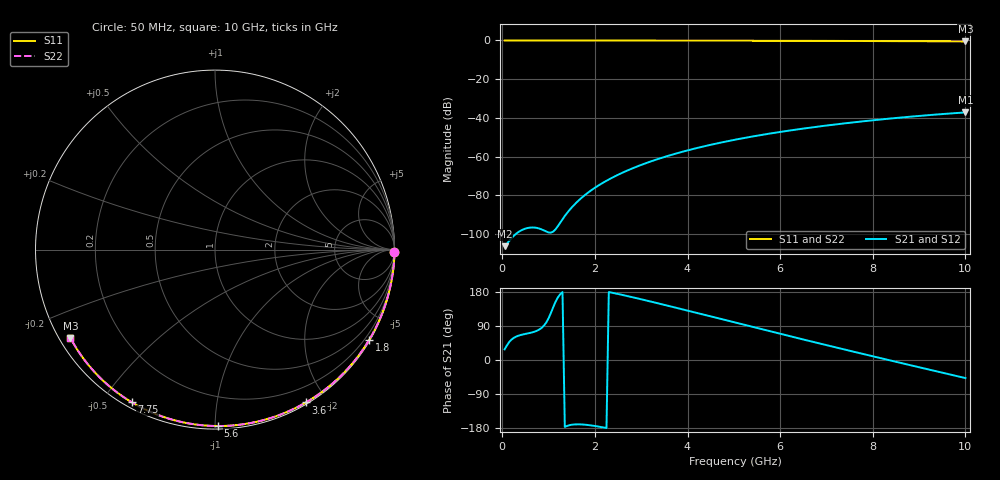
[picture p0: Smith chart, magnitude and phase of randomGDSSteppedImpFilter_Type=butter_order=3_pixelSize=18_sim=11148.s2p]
! freq	dB(S11)	phase(S11)	dB(S12)	phase(S12)
!  dB(S21)	phase(S21)	dB(S22)	phase(S22)
!S-par simulation data
#  GHz  S  DB  R 50
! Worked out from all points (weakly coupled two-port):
!   200 points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, 50 MHz to 10 GHz, reference 50 ohm
!   highest |S21| = -37.17 dB at 10 GHz (marker M1); lowest = -106.2 dB at 50 MHz (marker M2)
!   lowest |S11| = -0.5 dB at 10 GHz (marker M3), VSWR 34.57, Z = 1.56 - j14 ohm
!   |S11| at or under -10 dB: nowhere
!   |S22| runs from -0.5 to 0.0 dB; largest |S21 - S12| = 0
!   S11 on the Smith chart (normalised r, x): 50 MHz: open; 1.8 GHz: 0.03, -3.68; 3.6 GHz: 0.02, -1.76; 5.6 GHz: 0.02, -1.02; 7.75 GHz: 0.02, -0.59; 10 GHz: 0.03, -0.28
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0.05  -0.00 -0.9  -106.24 28.1  -106.24 28.1  -0.00 -0.9
0.45  -0.01 -7.7  -97.61 67.6  -97.61 67.6  -0.01 -7.7
0.9  -0.02 -15.3  -98.14 90.8  -98.14 90.8  -0.02 -15.4
1.3  -0.03 -22.1  -92.34 179.3  -92.34 179.3  -0.03 -22.1
1.75  -0.04 -29.6  -80.50 -170.4  -80.50 -170.4  -0.04 -29.6
1.8  -0.04 -30.4  -79.53 -170.9  -79.53 -170.9  -0.04 -30.4
1.95  -0.04 -32.9  -76.88 -173.2  -76.88 -173.2  -0.04 -32.9
2.1  -0.05 -35.3  -74.55 -176.1  -74.55 -176.1  -0.05 -35.3
2.3  -0.05 -38.6  -71.79 179.3  -71.79 179.3  -0.05 -38.6
2.5  -0.05 -41.8  -69.35 174.2  -69.35 174.2  -0.05 -41.9
2.9  -0.06 -48.3  -65.18 163.1  -65.18 163.1  -0.06 -48.3
3.4  -0.07 -56.2  -60.93 148.5  -60.93 148.5  -0.07 -56.2
3.6  -0.08 -59.3  -59.44 142.5  -59.44 142.5  -0.08 -59.3
4.3  -0.10 -70.0  -54.99 121.2  -54.99 121.2  -0.10 -70.0
5.05  -0.12 -81.1  -51.15 98.1  -51.15 98.1  -0.12 -81.2
5.6  -0.15 -89.0  -48.78 81.3  -48.78 81.3  -0.15 -89.1
6.15  -0.17 -96.8  -46.70 64.6  -46.70 64.6  -0.17 -96.9
6.7  -0.20 -104.4  -44.86 48.1  -44.86 48.1  -0.20 -104.5
7.75  -0.28 -118.7  -41.86 17.1  -41.86 17.1  -0.28 -118.7
8.35  -0.33 -126.7  -40.39 -0.4  -40.39 -0.4  -0.33 -126.7
9.2  -0.41 -137.9  -38.58 -24.9  -38.58 -24.9  -0.41 -138.0
10  -0.50 -148.6  -37.17 -47.7  -37.17 -47.7  -0.50 -148.7
